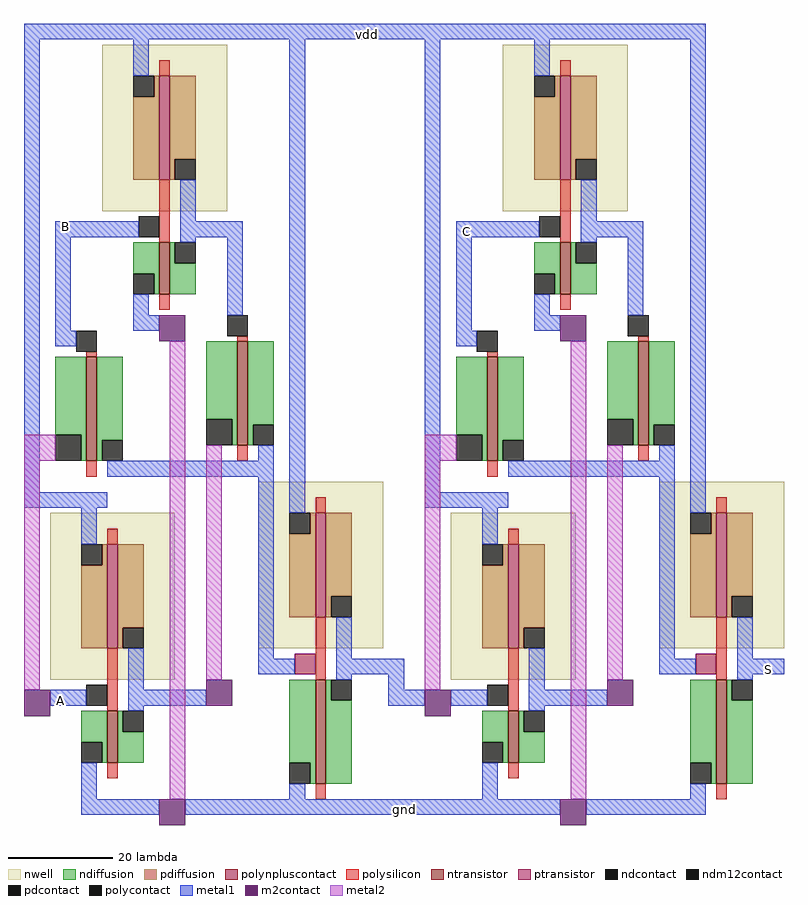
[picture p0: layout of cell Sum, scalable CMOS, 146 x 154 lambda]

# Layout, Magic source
magic
tech scmos
<< nwell >>
rect 15 118 39 150
rect 92 118 116 150
rect 5 28 29 60
rect 45 34 69 66
rect 82 28 106 60
rect 122 34 146 66
<< ntransistor >>
rect 26 102 28 112
rect 103 102 105 112
rect 12 70 14 90
rect 41 73 43 93
rect 89 70 91 90
rect 118 73 120 93
rect 16 12 18 22
rect 56 8 58 28
rect 93 12 95 22
rect 133 8 135 28
<< ptransistor >>
rect 26 124 28 144
rect 103 124 105 144
rect 16 34 18 54
rect 56 40 58 60
rect 93 34 95 54
rect 133 40 135 60
<< ndiffusion >>
rect 21 106 26 112
rect 25 102 26 106
rect 28 108 29 112
rect 28 102 33 108
rect 98 106 103 112
rect 102 102 103 106
rect 105 108 106 112
rect 105 102 110 108
rect 6 75 12 90
rect 11 70 12 75
rect 14 74 19 90
rect 14 70 15 74
rect 35 78 41 93
rect 40 73 41 78
rect 43 77 48 93
rect 43 73 44 77
rect 83 75 89 90
rect 88 70 89 75
rect 91 74 96 90
rect 91 70 92 74
rect 112 78 118 93
rect 117 73 118 78
rect 120 77 125 93
rect 120 73 121 77
rect 11 16 16 22
rect 15 12 16 16
rect 18 18 19 22
rect 18 12 23 18
rect 51 12 56 28
rect 55 8 56 12
rect 58 24 59 28
rect 58 8 63 24
rect 88 16 93 22
rect 92 12 93 16
rect 95 18 96 22
rect 95 12 100 18
rect 128 12 133 28
rect 132 8 133 12
rect 135 24 136 28
rect 135 8 140 24
<< pdiffusion >>
rect 25 140 26 144
rect 21 124 26 140
rect 28 128 33 144
rect 28 124 29 128
rect 102 140 103 144
rect 98 124 103 140
rect 105 128 110 144
rect 105 124 106 128
rect 55 56 56 60
rect 15 50 16 54
rect 11 34 16 50
rect 18 38 23 54
rect 51 40 56 56
rect 58 44 63 60
rect 132 56 133 60
rect 58 40 59 44
rect 92 50 93 54
rect 18 34 19 38
rect 88 34 93 50
rect 95 38 100 54
rect 128 40 133 56
rect 135 44 140 60
rect 135 40 136 44
rect 95 34 96 38
<< ndcontact >>
rect 21 102 25 106
rect 29 108 33 112
rect 98 102 102 106
rect 106 108 110 112
rect 15 70 19 74
rect 44 73 48 77
rect 92 70 96 74
rect 121 73 125 77
rect 11 12 15 16
rect 19 18 23 22
rect 51 8 55 12
rect 59 24 63 28
rect 88 12 92 16
rect 96 18 100 22
rect 128 8 132 12
rect 136 24 140 28
<< pdcontact >>
rect 21 140 25 144
rect 29 124 33 128
rect 98 140 102 144
rect 106 124 110 128
rect 51 56 55 60
rect 11 50 15 54
rect 128 56 132 60
rect 59 40 63 44
rect 88 50 92 54
rect 19 34 23 38
rect 136 40 140 44
rect 96 34 100 38
<< polysilicon >>
rect 26 144 28 147
rect 103 144 105 147
rect 26 112 28 124
rect 103 112 105 124
rect 26 99 28 102
rect 103 99 105 102
rect 41 93 43 94
rect 12 90 14 91
rect 118 93 120 94
rect 89 90 91 91
rect 41 70 43 73
rect 118 70 120 73
rect 12 67 14 70
rect 89 67 91 70
rect 56 60 58 63
rect 133 60 135 63
rect 16 54 18 57
rect 93 54 95 57
rect 16 22 18 34
rect 56 28 58 40
rect 16 9 18 12
rect 93 22 95 34
rect 133 28 135 40
rect 93 9 95 12
rect 56 5 58 8
rect 133 5 135 8
<< polycontact >>
rect 22 113 26 117
rect 99 113 103 117
rect 10 91 14 95
rect 39 94 43 98
rect 87 91 91 95
rect 116 94 120 98
rect 12 23 16 27
rect 89 23 93 27
<< polynpluscontact >>
rect 52 29 56 33
rect 129 29 133 33
<< metal1 >>
rect 0 151 131 154
rect 0 64 3 151
rect 21 144 24 151
rect 6 113 22 116
rect 30 116 33 124
rect 30 113 42 116
rect 6 95 9 113
rect 30 112 33 113
rect 21 98 24 102
rect 39 98 42 113
rect 21 95 26 98
rect 6 92 10 95
rect 45 70 48 73
rect 16 67 48 70
rect 0 61 16 64
rect 11 54 14 61
rect 5 23 12 26
rect 20 26 23 34
rect 45 32 48 67
rect 51 60 54 151
rect 77 64 80 151
rect 98 144 101 151
rect 83 113 99 116
rect 107 116 110 124
rect 107 113 119 116
rect 83 95 86 113
rect 107 112 110 113
rect 98 98 101 102
rect 116 98 119 113
rect 98 95 103 98
rect 83 92 87 95
rect 122 70 125 73
rect 93 67 125 70
rect 77 61 93 64
rect 88 54 91 61
rect 45 29 52 32
rect 60 32 63 40
rect 60 29 73 32
rect 60 28 63 29
rect 20 23 35 26
rect 70 26 73 29
rect 70 23 77 26
rect 20 22 23 23
rect 82 23 89 26
rect 97 26 100 34
rect 122 32 125 67
rect 128 60 131 151
rect 122 29 129 32
rect 137 32 140 40
rect 137 29 146 32
rect 137 28 140 29
rect 97 23 112 26
rect 97 22 100 23
rect 11 5 14 12
rect 51 5 54 8
rect 88 5 91 12
rect 128 5 131 8
rect 11 2 26 5
rect 31 2 103 5
rect 108 2 131 5
<< m2contact >>
rect 26 93 31 98
rect 0 21 5 26
rect 103 93 108 98
rect 35 23 40 28
rect 77 21 82 26
rect 112 23 117 28
rect 26 0 31 5
rect 103 0 108 5
<< ndm12contact >>
rect 6 70 11 75
rect 35 73 40 78
rect 83 70 88 75
rect 112 73 117 78
<< metal2 >>
rect 0 70 6 75
rect 0 26 3 70
rect 28 5 31 93
rect 35 28 38 73
rect 77 70 83 75
rect 77 26 80 70
rect 105 5 108 93
rect 112 28 115 73
<< labels >>
rlabel metal1 66 152 66 152 5 vdd
rlabel metal1 73 3 73 3 1 gnd
rlabel metal1 7 24 7 24 1 A
rlabel metal1 8 115 8 115 1 B
rlabel metal1 85 114 85 114 1 C
rlabel metal1 143 30 143 30 7 S
<< end >>
